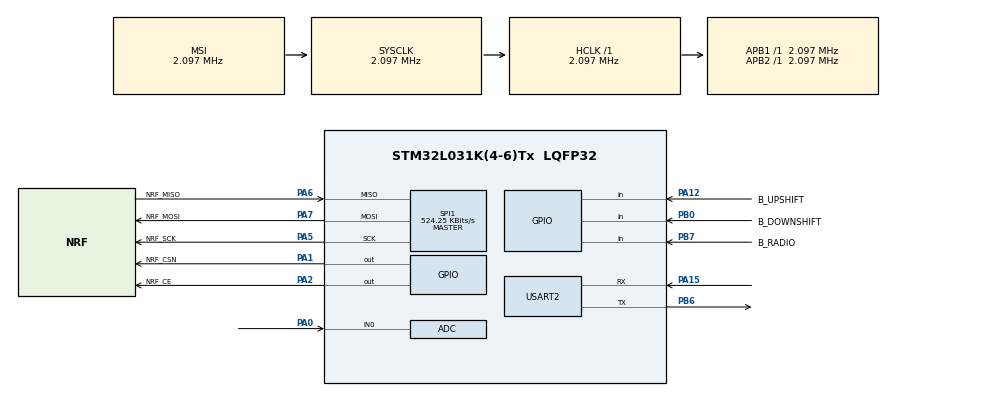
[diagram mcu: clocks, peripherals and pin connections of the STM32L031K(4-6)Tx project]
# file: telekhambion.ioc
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ADC.ContinuousConvMode=ENABLE
ADC.Resolution=ADC_RESOLUTION_8B
Mcu.Family=STM32L0
Mcu.Name=STM32L031K(4-6)Tx
Mcu.Package=LQFP32
PA0-CK_IN.Mode=IN0
PA0-CK_IN.Signal=ADC_IN0
PA1.GPIO_Label=NRF_CSN
PA1.GPIO_Speed=GPIO_SPEED_FREQ_HIGH
PA1.PinState=GPIO_PIN_SET
PA1.Signal=GPIO_Output
PA12.GPIO_Label=B_UPSHIFT
PA12.GPIO_PuPd=GPIO_PULLDOWN
PA12.Signal=GPIO_Input
PA13.Mode=Serial_Wire
PA13.Signal=SYS_SWDIO
PA14.Mode=Serial_Wire
PA14.Signal=SYS_SWCLK
PA15.Mode=Asynchronous
PA15.Signal=USART2_RX
PA2.GPIO_Label=NRF_CE
PA2.GPIO_Speed=GPIO_SPEED_FREQ_HIGH
PA2.Signal=GPIO_Output
PA5.GPIO_Label=NRF_SCK
PA5.Mode=Full_Duplex_Master
PA5.Signal=SPI1_SCK
PA6.GPIO_Label=NRF_MISO
PA6.Mode=Full_Duplex_Master
PA6.Signal=SPI1_MISO
PA7.GPIO_Label=NRF_MOSI
PA7.Mode=Full_Duplex_Master
PA7.Signal=SPI1_MOSI
PB0.GPIO_Label=B_DOWNSHIFT
PB0.GPIO_PuPd=GPIO_PULLDOWN
PB0.Signal=GPIO_Input
PB6.Mode=Asynchronous
PB6.Signal=USART2_TX
PB7.GPIO_Label=B_RADIO
PB7.GPIO_PuPd=GPIO_PULLDOWN
PB7.Signal=GPIO_Input
PC14-OSC32_IN.Mode=LSE-External-Oscillator
PC14-OSC32_IN.Signal=RCC_OSC32_IN
PC15-OSC32_OUT.Mode=LSE-External-Oscillator
PC15-OSC32_OUT.Signal=RCC_OSC32_OUT
ProjectManager.HeapSize=0x200
ProjectManager.StackSize=0x400
ProjectManager.TargetToolchain=Makefile
RCC.AHBFreq_Value=2097000
RCC.APB1Freq_Value=2097000
RCC.APB1TimFreq_Value=2097000
RCC.APB2Freq_Value=2097000
RCC.APB2TimFreq_Value=2097000
RCC.HSE_VALUE=8000000
RCC.HSI16_VALUE=16000000
RCC.HSI_VALUE=16000000
RCC.MSI_VALUE=2097000
RCC.SYSCLKFreq_VALUE=2097000
RCC.VCOOutputFreq_Value=48000000
SPI1.BaudRatePrescaler=SPI_BAUDRATEPRESCALER_4
SPI1.CalculateBaudRate=524.25 KBits/s
SPI1.Direction=SPI_DIRECTION_2LINES
SPI1.Mode=SPI_MODE_MASTER
SPI1.VirtualType=VM_MASTER
USART2.VirtualMode-Asynchronous=VM_ASYNC
board=custom

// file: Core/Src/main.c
/* USER CODE BEGIN Header */
/**
  ******************************************************************************
  * @file           : main.c
  * @brief          : Main program body
  ******************************************************************************
  * @attention
  *
  * Copyright (c) 2023 STMicroelectronics.
  * All rights reserved.
  *
  * This software is licensed under terms that can be found in the LICENSE file
  * in the root directory of this software component.
  * If no LICENSE file comes with this software, it is provided AS-IS.
  *
  ******************************************************************************
  */
/* USER CODE END Header */
#include "main.h"
#include "adc.h"
#include "spi.h"
#include "usart.h"
#include "gpio.h"

/* USER CODE BEGIN Includes */
#include "nrf24.h"
/* USER CODE END Includes */

void SystemClock_Config(void);
/* USER CODE BEGIN PFP */

void print_fifo_status(uint8_t flag);
void nRF24_SendPayload(uint8_t *data, uint8_t len);

/* USER CODE END PFP */

int main(void)
{

  /* MCU Configuration--------------------------------------------------------*/

  /* Reset of all peripherals, Initializes the Flash interface and the Systick. */
  HAL_Init();

  /* Configure the system clock */
  SystemClock_Config();

  /* Initialize all configured peripherals */
  MX_GPIO_Init();
  MX_USART2_UART_Init();
  MX_SPI1_Init();
  MX_ADC_Init();
  /* USER CODE BEGIN 2 */
  //HAL_ADCEx_Calibration_Start(&hadc, ADC_SINGLE_ENDED);
  //HAL_ADC_Start(&hadc);
  /* USER CODE END 2 */

  /* Infinite loop */
  /* USER CODE BEGIN WHILE */

  const uint8_t TX_Address[]={0xBB,0xBB,0xBB,0xBB,0xBB};

  /*NRF24 SETUP AND CHECK CONNECTIVITY*/
  HAL_Delay(100);
  nRF24_Init();
  HAL_Delay(100);
  while(nRF24_Check() == 0){
    #if DEBUG
      HAL_UART_Transmit(&huart2,(uint8_t*) "invalid\r\n",sizeof("invalid\r\n"),500);
      HAL_Delay(1000);
    #endif /* DEBUG */
  }

  #if DEBUG
    HAL_UART_Transmit(&huart2,(uint8_t*) "NRF connected\r\n",sizeof("NRF connected\r\n"),500);
  #endif /* DEBUG */

  nRF24_SetOperationalMode(nRF24_MODE_TX);
  nRF24_SetRFChannel(0);
  nRF24_SetTXPower(nRF24_TXPWR_18dBm);
  nRF24_SetDataRate(nRF24_DR_1Mbps);
  nRF24_SetAddrWidth(5);
  nRF24_SetAddr(6, TX_Address);
  nRF24_SetAddr(0, TX_Address);
  nRF24_SetAutoRetr(nRF24_ARD_NONE,0);
  nRF24_SetCRCScheme(nRF24_CRC_1byte);
  nRF24_SetDynamicPayloadLength(nRF24_DPL_OFF);
  nRF24_DisableAA(7);

  nRF24_SetPowerMode(nRF24_PWR_UP);
  HAL_Delay(500);

  nRF24_FlushTX();

  /*VARIABLES DECLARATION*/
  #if DEBUG
    uint8_t buf[40];
  #endif /* DEBUG */

  uint8_t send = 0;
  uint8_t payload=0;

  #if ADC_ON
    uint32_t ms_old_adc = HAL_GetTick();
    uint32_t ms_now_adc;

    uint16_t raw_data;

    float voltage;
  #endif /* ADC_ON*/

  telekhambion_button_init();

  HAL_Delay(1000);

  while (1)
  {
    send = telekhambion_encode_payload(&payload);
    if (send) {
      nRF24_SendPayload((uint8_t*) &payload, sizeof(payload));
    }

    #if ADC_ON
      ms_now_adc = HAL_GetTick();

      if(ms_now_adc - ms_old_adc >= ADC_PERIOD){
        HAL_ADC_PollForConversion(&hadc,HAL_MAX_DELAY);

        raw_data = HAL_ADC_GetValue(&hadc);

        voltage = (float)raw_data * (float)0.0164;

        #if DEBUG
          sprintf((char*)buf, "raw value: %d | Value: %.2f\r\n", raw_data,voltage);
          HAL_UART_Transmit(&huart2, buf, strlen((char*)buf), 100);
        #endif /* DEBUG */
        ms_old_adc = ms_now_adc;
      }
    #endif /* ADC_ON */

    /* USER CODE END WHILE */

  }
}

void SystemClock_Config(void)
{
  RCC_OscInitTypeDef RCC_OscInitStruct = {0};
  RCC_ClkInitTypeDef RCC_ClkInitStruct = {0};
  RCC_PeriphCLKInitTypeDef PeriphClkInit = {0};

  /** Configure the main internal regulator output voltage
  */
  __HAL_PWR_VOLTAGESCALING_CONFIG(PWR_REGULATOR_VOLTAGE_SCALE1);

  /** Initializes the RCC Oscillators according to the specified parameters
  * in the RCC_OscInitTypeDef structure.
  */
  RCC_OscInitStruct.OscillatorType = RCC_OSCILLATORTYPE_MSI;
  RCC_OscInitStruct.MSIState = RCC_MSI_ON;
  RCC_OscInitStruct.MSICalibrationValue = 0;
  RCC_OscInitStruct.MSIClockRange = RCC_MSIRANGE_5;
  RCC_OscInitStruct.PLL.PLLState = RCC_PLL_NONE;
  if (HAL_RCC_OscConfig(&RCC_OscInitStruct) != HAL_OK)
  {
    Error_Handler();
  }

  /** Initializes the CPU, AHB and APB buses clocks
  */
  RCC_ClkInitStruct.ClockType = RCC_CLOCKTYPE_HCLK|RCC_CLOCKTYPE_SYSCLK
                              |RCC_CLOCKTYPE_PCLK1|RCC_CLOCKTYPE_PCLK2;
  RCC_ClkInitStruct.SYSCLKSource = RCC_SYSCLKSOURCE_MSI;
  RCC_ClkInitStruct.AHBCLKDivider = RCC_SYSCLK_DIV1;
  RCC_ClkInitStruct.APB1CLKDivider = RCC_HCLK_DIV1;
  RCC_ClkInitStruct.APB2CLKDivider = RCC_HCLK_DIV1;

  if (HAL_RCC_ClockConfig(&RCC_ClkInitStruct, FLASH_LATENCY_0) != HAL_OK)
  {
    Error_Handler();
  }
  PeriphClkInit.PeriphClockSelection = RCC_PERIPHCLK_USART2;
  PeriphClkInit.Usart2ClockSelection = RCC_USART2CLKSOURCE_PCLK1;
  if (HAL_RCCEx_PeriphCLKConfig(&PeriphClkInit) != HAL_OK)
  {
    Error_Handler();
  }
}

/* USER CODE BEGIN 4 */

/**
 * @brief low level nRF fifo check: not used anymore, but can be useful in case
 * of code modifications if some error occurs
 */
void print_fifo_status(uint8_t flag){
  switch(flag){
    case nRF24_STATUS_TXFIFO_EMPTY:
      HAL_UART_Transmit(&huart2,(uint8_t*) "EMPTYFIFO\r\n", sizeof("EMPTYFIFO\r\n"), 500);
      break;
    case nRF24_STATUS_TXFIFO_DATA:
      HAL_UART_Transmit(&huart2,(uint8_t*) "DATAFIFO\r\n", sizeof("DATAFIFO\r\n"), 500);
      break;
    case nRF24_STATUS_TXFIFO_FULL:
      HAL_UART_Transmit(&huart2,(uint8_t*) "FULLFIFO\r\n", sizeof("FULLFIFO\r\n"), 500);
      break;
    case nRF24_STATUS_TXFIFO_ERROR:
      HAL_UART_Transmit(&huart2,(uint8_t*) "ERRORFIFO\r\n", sizeof("ERRORFIFO\r\n"), 500);
      break;
  }
}

/**
 * @brief send payload through nRF
 * @param data uint8_t payload to send
 * @param len payload's length
 */
void nRF24_SendPayload(uint8_t* data, uint8_t len) {
    uint8_t flag;

    //Set CE pin low in order to force nRF state in Standby-I
    nRF24_CE_L();

    //Write data on nRF24 register
    nRF24_WritePayload(data, len);

    //Set CE Pin High in order to trigger the transmission
    nRF24_CE_H();
    HAL_Delay(5);
    //Wait for empy fifo
    do {
      flag=nRF24_GetStatus_TXFIFO();
    } while (flag != nRF24_STATUS_RXFIFO_EMPTY);

    //Set CE Low
    nRF24_CE_L();

    return;
}

/* USER CODE END 4 */

void Error_Handler(void)
{
  __disable_irq();
  while (1)
  {
  }
}
